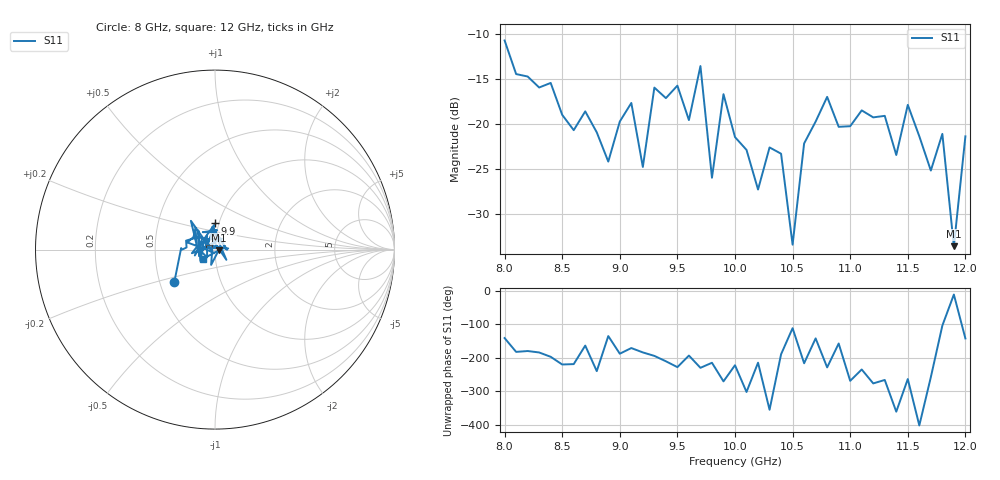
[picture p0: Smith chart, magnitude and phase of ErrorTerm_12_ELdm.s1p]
!  1-Port S-parameters saved by WinCal
! VAR NAME=2-Port SOLT labuser 3
! VAR Error Term Name=ELdm phys rcv port 1 phys src port 2
# Hz S RI R 50
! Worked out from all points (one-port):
!   41 points, 8 GHz to 12 GHz, reference 50 ohm
!   lowest |S11| = -33.6 dB at 11.9 GHz (marker M1), VSWR 1.04, Z = 52.1 - j0.436 ohm
!   |S11| at or under -10 dB: start of sweep to end of sweep
!   S11 on the Smith chart (normalised r, x): 8 GHz: 0.60, -0.24; 9.9 GHz: 0.96, +0.29; 12 GHz: 0.87, -0.09
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8e9  -0.2268 -0.1811
8.5e9  -0.0856 0.0723
8.7e9  -0.1125 -0.0327
8.9e9  -0.0439 -0.0433
9e9  -0.1019 0.0143
9.1e9  -0.1289 -0.0201
9.2e9  -0.0574 0.00417
9.3e9  -0.1537 0.0397
9.5e9  -0.1088 0.1211
9.6e9  -0.1019 0.0245
9.7e9  -0.1343 0.1604
9.8e9  -0.0411 0.0288
9.9e9  0.00119 0.146
1e10  -0.0623 0.0568
1.02e10  -0.0354 0.0246
1.04e10  -0.0672 0.0114
1.05e10  -0.00793 -0.0198
1.06e10  -0.0625 0.0462
1.08e10  -0.0929 0.1061
1.1e10  -0.0019 0.0969
1.13e10  -0.00714 0.1104
1.14e10  0.067 -0.00102
1.15e10  -0.0144 0.1265
1.16e10  0.0634 -0.057
1.17e10  -0.0115 0.0538
1.18e10  -0.0215 -0.0852
1.19e10  0.0205 -0.00418
1.2e10  -0.0675 -0.0519
